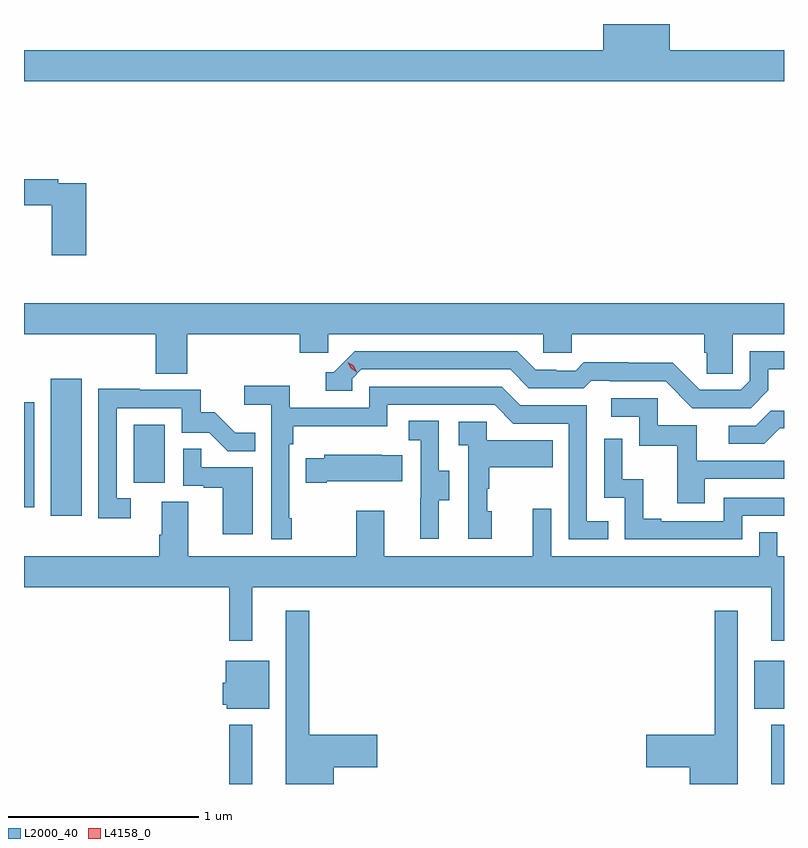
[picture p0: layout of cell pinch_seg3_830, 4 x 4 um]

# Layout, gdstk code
import gdstk
lib = gdstk.Library(unit=1e-6, precision=1e-09)
def R(c, l, rs):  # rectangles x0, y0, x1, y1
    for r in rs: c.add(gdstk.rectangle(r[:2], r[2:], *l))
def P(c, l, *ps):  # polygons
    for p in ps: c.add(gdstk.Polygon(p, *l))
L2000_40 = (2000, 40)
L4158_0 = (4158, 0)

pinch_seg3_830 = lib.new_cell('pinch_seg3_830')
R(pinch_seg3_830, L2000_40, [(841.368,709.205,841.489,709.516), (844.223,709.205,844.289,709.516), (844.133,709.601,844.289,709.855), (840.431,710.616,840.592,711.337), (840.289,710.662,840.342,711.214), (840.866,710.79,841.03,711.097)])
P(pinch_seg3_830, L2000_40, [(844.289,713.068),(843.688,713.068),(843.688,713.205),(843.338,713.205),(843.338,713.068),(840.289,713.068),(840.289,712.904),(844.289,712.904)],
  [(840.617,712.368),(840.47,712.368),(840.47,712.388),(840.289,712.388),(840.289,712.252),(840.434,712.252),(840.434,711.987),(840.617,711.987)],
  [(841.148,711.572),(841.739,711.572),(841.739,711.474),(841.89,711.474),(841.89,711.572),(843.021,711.572),(843.021,711.474),(843.171,711.474),(843.171,711.572),(843.869,711.572),(843.869,711.474),(843.883,711.474),(843.883,711.364),(844.02,711.364),(844.02,711.572),(844.289,711.572),(844.289,711.736),(840.289,711.736),(840.289,711.572),(840.983,711.572),(840.983,711.364),(841.148,711.364)],
  [(844.207,711.277),(844.207,711.387),(844.289,711.387),(844.289,711.483),(844.11,711.483),(844.11,711.327),(844.062,711.279),(843.846,711.279),(843.704,711.421),(843.468,711.421),(843.468,711.424),(843.235,711.424),(843.193,711.381),(843.09,711.381),(843.09,711.384),(842.983,711.384),(842.884,711.483),(842.031,711.483),(841.92,711.372),(841.877,711.372),(841.877,711.276),(842.016,711.276),(842.016,711.339),(842.064,711.387),(842.847,711.387),(842.946,711.288),(843.235,711.288),(843.274,711.327),(843.373,711.327),(843.373,711.324),(843.666,711.324),(843.807,711.183),(844.113,711.183)],
  [(841.699,710.605),(841.686,710.605),(841.686,710.993),(841.706,710.993),(841.706,711.089),(842.202,711.089),(842.202,711.201),(842.766,711.201),(842.865,711.102),(843.156,711.102),(843.156,710.493),(843.365,710.493),(843.365,710.589),(843.252,710.589),(843.252,711.198),(842.902,711.198),(842.803,711.297),(842.106,711.297),(842.106,711.186),(841.688,711.186),(841.688,711.302),(841.449,711.302),(841.449,711.2),(841.59,711.2),(841.59,710.493),(841.699,710.493)],
  [(840.85,710.709),(840.777,710.709),(840.777,711.183),(841.119,711.183),(841.119,711.054),(841.263,711.054),(841.361,710.956),(841.505,710.956),(841.505,711.055),(841.401,711.055),(841.294,711.162),(841.218,711.162),(841.218,711.279),(840.899,711.279),(840.899,711.284),(840.681,711.284),(840.681,710.604),(840.85,710.604)],
  [(843.871,710.811),(844.289,710.811),(844.289,710.907),(843.829,710.907),(843.829,711.093),(843.624,711.093),(843.624,711.234),(843.381,711.234),(843.381,711.138),(843.528,711.138),(843.528,710.985),(843.727,710.985),(843.727,710.682),(843.871,710.682)],
  [(844.267,711.078),(844.289,711.078),(844.289,711.17),(844.22,711.17),(844.14,711.09),(843.999,711.09),(843.999,710.997),(844.186,710.997)],
  [(842.473,710.698),(842.527,710.698),(842.527,710.853),(842.472,710.853),(842.472,711.116),(842.313,711.116),(842.313,711.013),(842.376,711.013),(842.376,710.709),(842.375,710.709),(842.375,710.496),(842.473,710.496)],
  [(842.752,710.64),(842.727,710.64),(842.727,710.759),(842.737,710.759),(842.737,710.873),(843.071,710.873),(843.071,711.013),(842.724,711.013),(842.724,711.111),(842.577,711.111),(842.577,710.987),(842.628,710.987),(842.628,710.496),(842.752,710.496)],
  [(844.068,710.616),(844.289,710.616),(844.289,710.712),(843.972,710.712),(843.972,710.589),(843.643,710.589),(843.643,710.602),(843.548,710.602),(843.548,710.81),(843.438,710.81),(843.438,711.022),(843.342,711.022),(843.342,710.712),(843.45,710.712),(843.45,710.493),(844.068,710.493)],
  [(841.492,710.871),(841.223,710.871),(841.223,710.969),(841.128,710.969),(841.128,710.775),(841.235,710.775),(841.235,710.763),(841.334,710.763),(841.334,710.52),(841.492,710.52)],
  [(841.882,710.798),(842.279,710.798),(842.279,710.935),(842.171,710.935),(842.171,710.938),(841.869,710.938),(841.869,710.92),(841.771,710.92),(841.771,710.791),(841.882,710.791)],
  [(841.489,710.24),(844.223,710.24),(844.223,709.959),(844.289,709.959),(844.289,710.404),(844.254,710.404),(844.254,710.531),(844.158,710.531),(844.158,710.404),(843.063,710.404),(843.063,710.653),(842.966,710.653),(842.966,710.404),(842.185,710.404),(842.185,710.644),(842.038,710.644),(842.038,710.404),(841.153,710.404),(841.153,710.69),(841.013,710.69),(841.013,710.516),(841.001,710.516),(841.001,710.404),(840.289,710.404),(840.289,710.24),(841.368,710.24),(841.368,709.959),(841.489,709.959)],
  [(841.918,709.292),(842.149,709.292),(842.149,709.463),(841.789,709.463),(841.789,710.116),(841.667,710.116),(841.667,709.205),(841.918,709.205)],
  [(844.045,710.116),(843.924,710.116),(843.924,709.463),(843.564,709.463),(843.564,709.292),(843.794,709.292),(843.794,709.205),(844.045,709.205)],
  [(841.579,709.855),(841.352,709.855),(841.352,709.737),(841.334,709.737),(841.334,709.623),(841.356,709.623),(841.356,709.601),(841.579,709.601)])
P(pinch_seg3_830, L4158_0, [(842.039,711.372),(842.009,711.392),(841.993,711.425),(841.993,711.426),(841.994,711.426),(842.024,711.406),(842.039,711.373),(842.039,711.372)])

lib.write_gds('pinch_seg3_830.gds')
